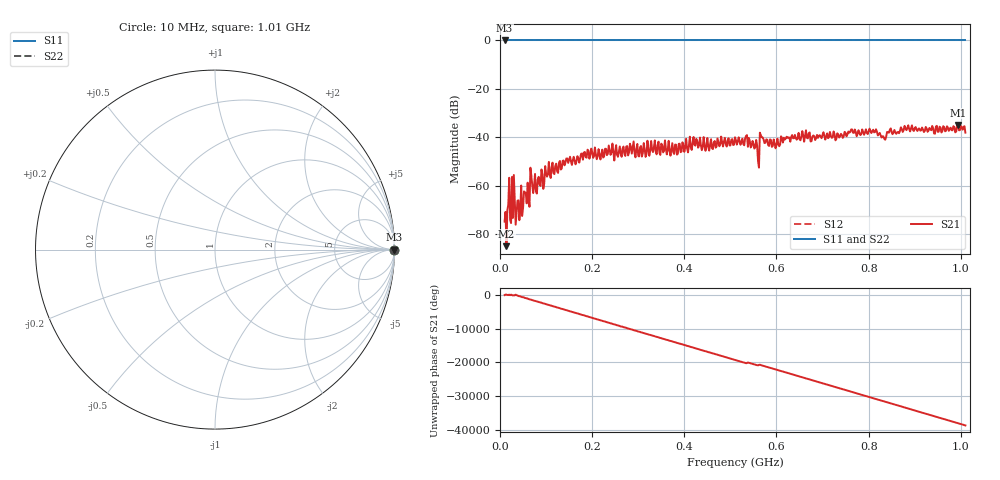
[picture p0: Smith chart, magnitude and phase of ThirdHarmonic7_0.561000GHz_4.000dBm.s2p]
! 8/17/2025 5:11:05 PM
! C:\ANRITSUVNA\TEMP\TEMP.S2P
! CHANNEL.1
! TR.MEASUREMENT
! RAW.DATA
! RF.CORRECTION.OFF
! AVERAGING.OFF
! IF.BANDWIDTH: 5KHZ
! SWEEPTYPE:  FREQ.SWEEP(Linear)
! Reference Plane Port Info
! PORT:  PORT1  PORT2
! DISTANCE:  0  m  0  m
! TIME:  0  s  0  s
! PHASE.OFFSET:  0  deg.  0  deg.
! LOSS:  0  dB  0  dB
! REF.LOSS:  0  dB  0  dB
! REF.FREQ:  0  Hz  0  Hz
! Power Info
! POWER:  -20  dBm  -20  dBm
! EFF.POWER:  -20  dBm  -20  dBm
! SOURCE.ATTEN:  0  dB  0  dB
! TEST.ATTEN:  0  dB  0  dB
# GHZ S RI R 50.0
! FREQ.GHZ  S11RE  S11IM  S21RE  S21IM  S12RE  S12IM  S22RE  S22IM
!; PortSelection: Port_12
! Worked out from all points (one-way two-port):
!   501 points, 10 MHz to 1.01 GHz, reference 50 ohm
!   highest |S21| = -34.86 dB at 994 MHz (marker M1); lowest = -84.8 dB at 14 MHz (marker M2)
!   lowest |S11| = 0.0 dB at 10 MHz (marker M3)
!   |S11| at or under -10 dB: nowhere
!   |S22| runs from 0.0 to 0.0 dB; largest |S21 - S12| = 1
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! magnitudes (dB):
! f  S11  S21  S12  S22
! 10 MHz  0.0  -74.7  0.0  0.0
! 14 MHz  0.0  -84.8  0.0  0.0
! 28 MHz  0.0  -73.2  0.0  0.0
! 38 MHz  0.0  -66.1  0.0  0.0
! 42 MHz  0.0  -74.1  0.0  0.0
! 46 MHz  0.0  -59.8  0.0  0.0
! 70 MHz  0.0  -59.7  0.0  0.0
! 76 MHz  0.0  -55.0  0.0  0.0
! 102 MHz  0.0  -56.2  0.0  0.0
! 178 MHz  0.0  -46.6  0.0  0.0
! 344 MHz  0.0  -41.7  0.0  0.0
! 510 MHz  0.0  -39.9  0.0  0.0
! 536 MHz  0.0  -39.0  0.0  0.0
! 558 MHz  0.0  -43.3  0.0  0.0
! 568 MHz  0.0  -39.9  0.0  0.0
! 594 MHz  0.0  -40.8  0.0  0.0
! 678 MHz  0.0  -39.6  0.0  0.0
! 766 MHz  0.0  -38.0  0.0  0.0
! 832 MHz  0.0  -39.6  0.0  0.0
! 844 MHz  0.0  -38.0  0.0  0.0
! 994 MHz  0.0  -34.9  0.0  0.0
! 1.01 GHz  0.0  -38.0  0.0  0.0
